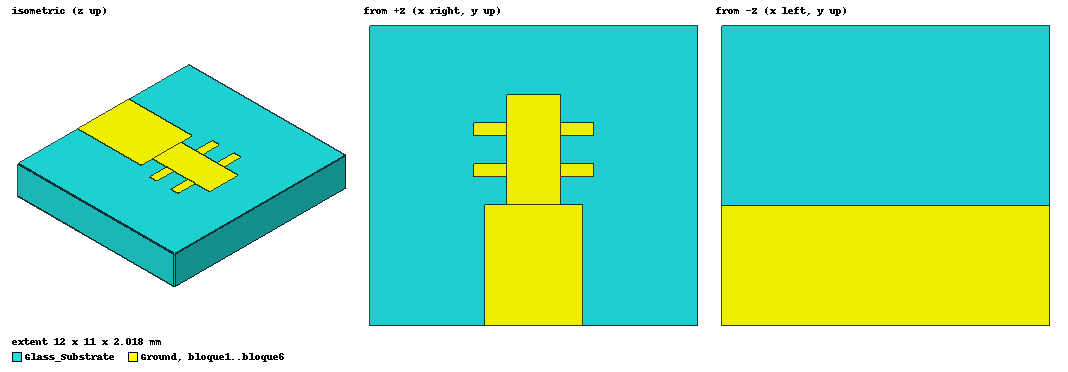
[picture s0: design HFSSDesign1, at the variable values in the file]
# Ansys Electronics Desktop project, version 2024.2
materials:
  vacuum: permittivity=1
  glass: permittivity=5.5
  AgHT-8: conductivity=1

design HFSSDesign1 (HFSS, HFSS Terminal Network, model units mm)
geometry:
  Glass_Substrate [glass] = box(corner=(0mm, 0mm, 0mm), size=(12mm, 11mm, 2mm))
  bloque1 [AgHT-8] = box(corner=(4.21mm, 0mm, 2mm), size=(3.58mm, 4.45mm, 0.0177mm))
  bloque2 [AgHT-8] = box(corner=(5mm, 4.45mm, 2mm), size=(2mm, 4mm, 0.0177mm))
  bloque3 [AgHT-8] = box(corner=(7mm, 5.45mm, 2mm), size=(1.2mm, 0.5mm, 0.0177mm))
  bloque4 [AgHT-8] = box(corner=(3.8mm, 5.45mm, 2mm), size=(1.2mm, 0.5mm, 0.0177mm))
  bloque5 [AgHT-8] = box(corner=(7mm, 6.95mm, 2mm), size=(1.2mm, 0.5mm, 0.0177mm))
  bloque6 [AgHT-8] = box(corner=(3.8mm, 6.95mm, 2mm), size=(1.2mm, 0.5mm, 0.0177mm))
  Ground [AgHT-8] = box(corner=(0mm, 0mm, 0mm), size=(12mm, 4.4mm, 0.0177mm))
  plane Plane1 = base (0mm, 0mm, 0.0177mm) normal (0mm, -0.4mm, -0.0177mm)
  plane Plane2 = base (0mm, 0mm, 0.0177mm) normal (0mm, -0.3mm, -0.0177mm)
  plane Plane3 = base (0mm, 0mm, 0.0177mm) normal (0mm, 0mm, 0.9823mm)
  plane Plane4 = base (3.8mm, 5.45mm, 2mm) normal (0.41mm, -5.45mm, 0mm)
  Rectangle1 = rectangle(corner=(4.21mm, 0mm, 2.0177mm), z_size=-2.0177mm, x_size=3.59mm)
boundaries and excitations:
  Port1: Lumped Port Objects=Rectangle1 LumpedPortType=Modal Modes{Mode1{IntLine{(6.005, 0, 2.0177) -> (6, 0, 0)} CharImp=Zpi}} Impedance=50ohm
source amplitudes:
  Port1:1: 1V 0deg
